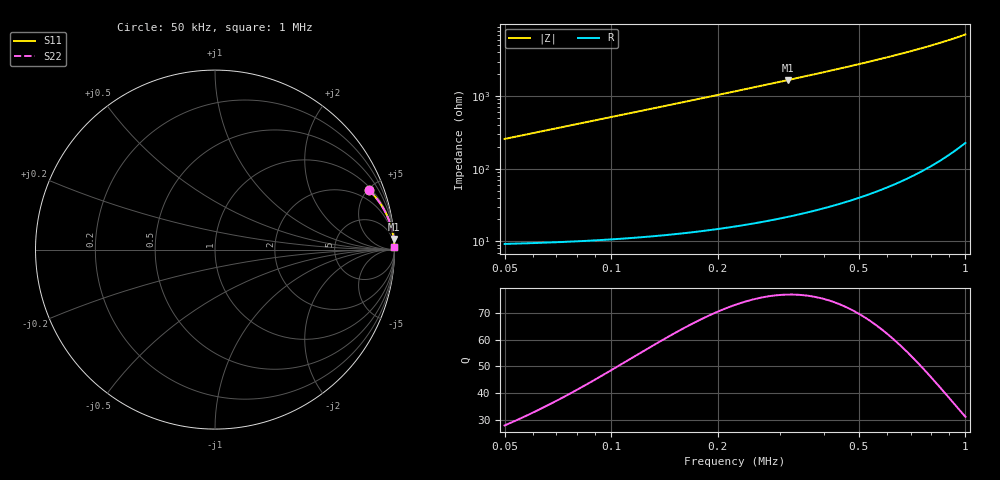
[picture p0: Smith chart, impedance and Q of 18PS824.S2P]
! Coilcraft 1812PS-824 Power Chip Inductor
! 1 October 2002
# MHZ S MA R 50
!Freq  MagS11  AngS11  MagS21  AngS21  MagS12  AngS12  MagS22  AngS22
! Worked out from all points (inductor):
!   476 points, 50 kHz to 1 MHz, reference 50 ohm
!   read as one part in series: L = 819 uH near 54 kHz
!   highest Q = 76.8 at 316 kHz (marker M1), where L = 841 uH
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0.05  0.921 21.0  0.3579 -67.0  0.3579 -67.0  0.921 21.0
0.054  0.9311 19.6  0.335 -68.5  0.335 -68.5  0.9311 19.6
0.064  0.9493 16.7  0.2881 -71.6  0.2881 -71.6  0.9493 16.7
0.076  0.9631 14.2  0.2461 -74.3  0.2461 -74.3  0.9631 14.2
0.084  0.9694 12.9  0.224 -75.7  0.224 -75.7  0.9694 12.9
0.094  0.9752 11.6  0.2013 -77.2  0.2013 -77.2  0.9752 11.6
0.104  0.9795 10.5  0.1827 -78.3  0.1827 -78.3  0.9795 10.5
0.116  0.9834 9.5  0.1643 -79.5  0.1643 -79.5  0.9834 9.5
0.136  0.9877 8.1  0.1406 -80.9  0.1406 -80.9  0.9877 8.1
0.158  0.9907 7.0  0.1212 -82.1  0.1212 -82.1  0.9907 7.0
0.182  0.9929 6.0  0.1052 -83.1  0.1052 -83.1  0.9929 6.0
0.21  0.9946 5.2  0.09102 -84.0  0.09102 -84.0  0.9946 5.2
0.234  0.9956 4.7  0.08153 -84.5  0.08153 -84.5  0.9956 4.7
0.26  0.9963 4.2  0.07317 -85.0  0.07317 -85.0  0.9963 4.2
0.316  0.9974 3.4  0.05973 -85.8  0.05973 -85.8  0.9974 3.4
0.368  0.998 2.9  0.0508 -86.3  0.0508 -86.3  0.998 2.9
0.442  0.9986 2.4  0.04159 -86.8  0.04159 -86.8  0.9986 2.4
0.526  0.9989 2.0  0.03414 -87.2  0.03414 -87.2  0.9989 2.0
0.6  0.9991 1.7  0.02919 -87.4  0.02919 -87.4  0.9991 1.7
0.684  0.9992 1.4  0.02477 -87.5  0.02477 -87.5  0.9992 1.4
0.842  0.9994 1.1  0.0186 -87.6  0.0186 -87.6  0.9994 1.1
1  0.9994 0.8  0.01411 -87.4  0.01411 -87.4  0.9994 0.8
